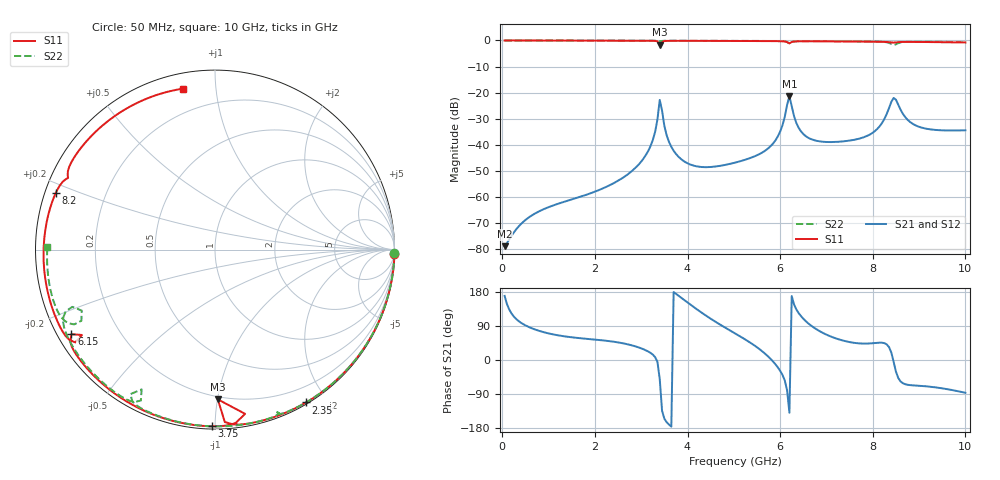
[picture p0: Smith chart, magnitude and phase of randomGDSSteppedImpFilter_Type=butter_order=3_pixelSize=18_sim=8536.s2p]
! freq	dB(S11)	phase(S11)	dB(S12)	phase(S12)
!  dB(S21)	phase(S21)	dB(S22)	phase(S22)
!S-par simulation data
#  GHz  S  DB  R 50
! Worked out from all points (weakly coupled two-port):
!   200 points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, 50 MHz to 10 GHz, reference 50 ohm
!   highest |S21| = -21.39 dB at 6.2 GHz (marker M1); lowest = -78.9 dB at 50 MHz (marker M2)
!   lowest |S11| = -1.6 dB at 3.4 GHz (marker M3), VSWR 11.08, Z = 9.12 - j50.1 ohm
!   |S11| at or under -10 dB: nowhere
!   |S22| runs from -1.8 to 0.0 dB; largest |S21 - S12| = 0
!   S11 on the Smith chart (normalised r, x): 50 MHz: 0, -89; 2.35 GHz: 0.02, -1.76; 3.75 GHz: 0.02, -0.98; 6.15 GHz: 0.04, -0.27; 8.2 GHz: 0.03, +0.17; 10 GHz: 0.07, +0.82
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0.05  -0.00 -1.3  -78.88 169.1  -78.88 169.1  -0.00 -1.1
0.65  -0.02 -16.7  -66.95 83.1  -66.95 83.1  -0.01 -13.7
1.75  -0.06 -44.4  -59.56 56.7  -59.56 56.7  -0.05 -36.4
2.35  -0.08 -59.2  -55.23 49.2  -55.23 49.2  -0.06 -48.4
3.15  -0.11 -79.1  -42.42 22.5  -42.42 22.5  -0.09 -64.1
3.3  -0.18 -84.0  -35.05 7.7  -35.05 7.7  -0.10 -67.2
3.4  -1.57 -88.9  -22.80 -50.5  -22.80 -50.5  -0.34 -69.5
3.55  -0.17 -85.3  -36.40 -164.2  -36.40 -164.2  -0.11 -71.1
3.75  -0.13 -91.1  -43.49 174.6  -43.49 174.6  -0.10 -75.0
4.25  -0.15 -103.1  -48.42 129.6  -48.42 129.6  -0.12 -84.3
5.05  -0.19 -121.5  -46.74 68.5  -46.74 68.5  -0.15 -98.6
5.85  -0.25 -140.3  -39.45 -4.5  -39.45 -4.5  -0.20 -112.9
6.15  -0.64 -149.5  -24.70 -80.2  -24.70 -80.2  -0.60 -120.3
6.2  -1.10 -147.3  -21.39 -139.3  -21.39 -139.3  -1.11 -117.7
6.4  -0.32 -151.5  -33.51 123.7  -33.51 123.7  -0.27 -120.3
6.7  -0.32 -159.4  -38.03 88.0  -38.03 88.0  -0.26 -126.0
7.7  -0.42 174.8  -37.69 43.9  -37.69 43.9  -0.34 -143.3
8.2  -0.52 160.5  -31.64 45.6  -31.64 45.6  -0.51 -153.3
8.35  -0.64 155.9  -25.97 34.3  -25.97 34.3  -0.92 -157.5
8.45  -0.81 154.0  -22.05 -4.6  -22.05 -4.6  -1.76 -155.4
8.95  -0.57 138.7  -32.77 -67.6  -32.77 -67.6  -0.50 -161.7
10  -0.78 101.3  -34.45 -86.6  -34.45 -86.6  -0.59 179.0
